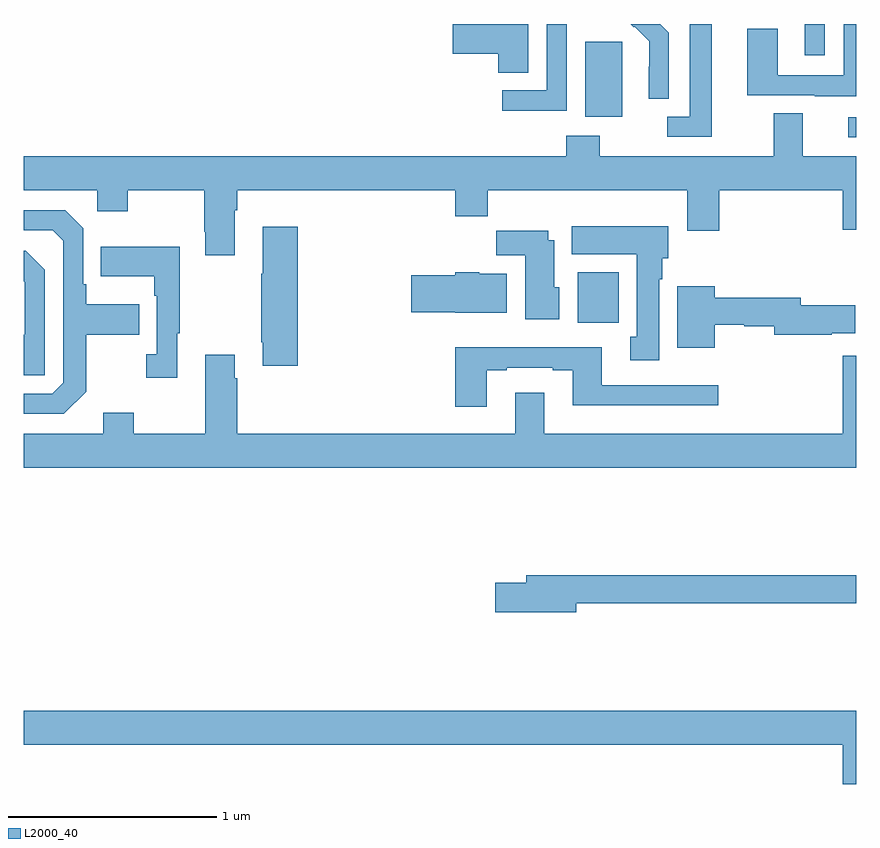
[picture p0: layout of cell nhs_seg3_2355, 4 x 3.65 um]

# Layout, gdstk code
import gdstk
lib = gdstk.Library(unit=1e-6, precision=1e-09)
def R(c, l, rs):  # rectangles x0, y0, x1, y1
    for r in rs: c.add(gdstk.rectangle(r[:2], r[2:], *l))
def P(c, l, *ps):  # polygons
    for p in ps: c.add(gdstk.Polygon(p, *l))
L2000_40 = (2000, 40)

nhs_seg3_2355 = lib.new_cell('nhs_seg3_2355')
R(nhs_seg3_2355, L2000_40, [(235.661,682.964,235.858,683.206), (236.961,683.856,237,683.952), (235.697,683.954,235.876,684.315), (236.753,684.249,236.85,684.4)])
P(nhs_seg3_2355, L2000_40, [(237,684.4),(236.94,684.4),(236.94,684.153),(236.622,684.153),(236.622,684.377),(236.477,684.377),(236.477,684.057),(236.801,684.057),(236.801,684.053),(237,684.053)],
  [(236.305,684.4),(236.201,684.4),(236.201,683.955),(236.091,683.955),(236.091,683.859),(236.305,683.859)],
  [(235.423,684.4),(235.062,684.4),(235.062,684.257),(235.28,684.257),(235.28,684.166),(235.423,684.166)],
  [(235.608,684.4),(235.512,684.4),(235.512,684.081),(235.299,684.081),(235.299,683.983),(235.608,683.983)],
  [(236.1,684.358),(236.058,684.4),(235.916,684.4),(235.932,684.384),(235.935,684.387),(236.006,684.317),(236.006,684.194),(236.004,684.194),(236.004,684.04),(236.1,684.04)],
  [(234.013,683.504),(234.026,683.504),(234.026,683.6),(235.073,683.6),(235.073,683.476),(235.229,683.476),(235.229,683.6),(236.189,683.6),(236.189,683.406),(236.342,683.406),(236.342,683.6),(236.936,683.6),(236.936,683.412),(237,683.412),(237,683.764),(236.743,683.764),(236.743,683.972),(236.603,683.972),(236.603,683.764),(235.767,683.764),(235.767,683.863),(235.607,683.863),(235.607,683.764),(233,683.764),(233,683.6),(233.352,683.6),(233.352,683.501),(233.499,683.501),(233.499,683.6),(233.866,683.6),(233.866,683.401),(233.873,683.401),(233.873,683.289),(234.013,683.289)],
  [(233.299,682.633),(233.299,682.906),(233.555,682.906),(233.555,683.053),(233.299,683.053),(233.299,683.149),(233.286,683.149),(233.286,683.418),(233.199,683.505),(233,683.505),(233,683.409),(233.139,683.409),(233.19,683.358),(233.19,682.677),(233.136,682.623),(233,682.623),(233,682.527),(233.193,682.527)],
  [(236.053,683.174),(236.068,683.174),(236.068,683.274),(236.098,683.274),(236.098,683.428),(235.634,683.428),(235.634,683.294),(235.946,683.294),(235.946,682.898),(235.913,682.898),(235.913,682.785),(236.053,682.785)],
  [(234.317,683.425),(234.149,683.425),(234.149,683.201),(234.142,683.201),(234.142,682.87),(234.149,682.87),(234.149,682.758),(234.317,682.758)],
  [(235.573,683.136),(235.549,683.136),(235.549,683.362),(235.519,683.362),(235.519,683.407),(235.27,683.407),(235.27,683.288),(235.409,683.288),(235.409,682.982),(235.573,682.982)],
  [(233.737,682.913),(233.749,682.913),(233.749,683.329),(233.371,683.329),(233.371,683.189),(233.628,683.189),(233.628,683.093),(233.64,683.093),(233.64,682.814),(233.589,682.814),(233.589,682.701),(233.737,682.701)],
  [(233.1,683.22),(233.01,683.31),(233,683.31),(233,683.164),(233.004,683.16),(233.004,682.906),(233,682.906),(233,682.713),(233.1,682.713)],
  [(235.321,683.2),(235.188,683.2),(235.188,683.206),(235.074,683.206),(235.074,683.193),(234.861,683.193),(234.861,683.015),(235.074,683.015),(235.074,683.012),(235.321,683.012)],
  [(236.32,682.956),(236.463,682.956),(236.463,682.948),(236.606,682.948),(236.606,682.906),(236.882,682.906),(236.882,682.913),(236.995,682.913),(236.995,683.048),(236.734,683.048),(236.734,683.084),(236.32,683.084),(236.32,683.14),(236.141,683.14),(236.141,682.844),(236.32,682.844)],
  [(235.225,682.737),(235.321,682.737),(235.321,682.749),(235.541,682.749),(235.541,682.737),(235.637,682.737),(235.637,682.568),(236.338,682.568),(236.338,682.665),(235.777,682.665),(235.777,682.846),(235.073,682.846),(235.073,682.56),(235.225,682.56)],
  [(237,682.807),(236.936,682.807),(236.936,682.432),(235.501,682.432),(235.501,682.627),(235.361,682.627),(235.361,682.432),(234.026,682.432),(234.026,682.697),(234.013,682.697),(234.013,682.81),(233.873,682.81),(233.873,682.432),(233.529,682.432),(233.529,682.531),(233.381,682.531),(233.381,682.432),(233,682.432),(233,682.268),(237,682.268)],
  [(235.654,681.616),(237,681.616),(237,681.752),(235.415,681.752),(235.415,681.716),(235.266,681.716),(235.266,681.574),(235.654,681.574)],
  [(237,681.1),(233,681.1),(233,680.936),(236.936,680.936),(236.936,680.748),(237,680.748)])

lib.write_gds('nhs_seg3_2355.gds')
